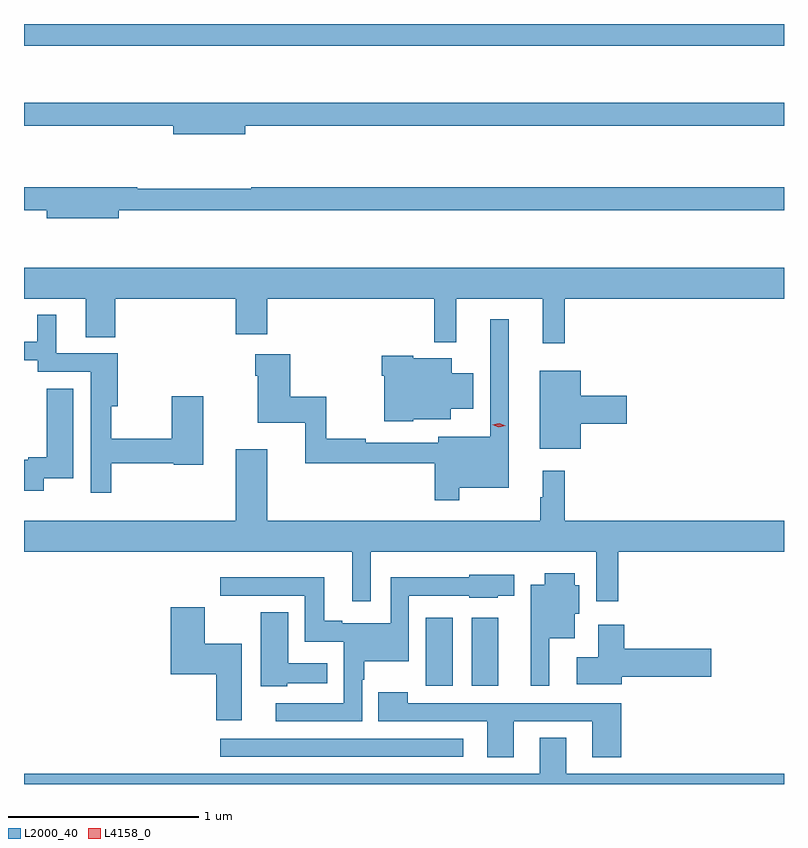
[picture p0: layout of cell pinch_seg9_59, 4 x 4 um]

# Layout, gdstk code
import gdstk
lib = gdstk.Library(unit=1e-6, precision=1e-09)
def R(c, l, rs):  # rectangles x0, y0, x1, y1
    for r in rs: c.add(gdstk.rectangle(r[:2], r[2:], *l))
def P(c, l, *ps):  # polygons
    for p in ps: c.add(gdstk.Polygon(p, *l))
L2000_40 = (2000, 40)
L4158_0 = (4158, 0)

pinch_seg9_59 = lib.new_cell('pinch_seg9_59')
R(pinch_seg9_59, L2000_40, [(908.181,1190.013,909.46,1190.109), (909.263,1190.388,909.406,1190.746), (909.506,1190.388,909.646,1190.746), (907.149,1193.756,911.149,1193.87)])
P(pinch_seg9_59, L2000_40, [(908.314,1193.334),(911.149,1193.334),(911.149,1193.455),(907.149,1193.455),(907.149,1193.334),(907.934,1193.334),(907.934,1193.291),(908.314,1193.291)],
  [(907.648,1192.89),(911.149,1192.89),(911.149,1193.011),(908.344,1193.011),(908.344,1193.003),(907.744,1193.003),(907.744,1193.011),(907.149,1193.011),(907.149,1192.89),(907.268,1192.89),(907.268,1192.847),(907.648,1192.847)],
  [(909.995,1192.424),(911.149,1192.424),(911.149,1192.588),(907.149,1192.588),(907.149,1192.424),(907.475,1192.424),(907.475,1192.222),(907.628,1192.222),(907.628,1192.424),(908.264,1192.424),(908.264,1192.236),(908.428,1192.236),(908.428,1192.424),(909.307,1192.424),(909.307,1192.196),(909.425,1192.196),(909.425,1192.424),(909.878,1192.424),(909.878,1192.191),(909.995,1192.191)],
  [(907.609,1191.558),(907.938,1191.558),(907.938,1191.55),(908.092,1191.55),(908.092,1191.91),(907.927,1191.91),(907.927,1191.686),(907.609,1191.686),(907.609,1191.857),(907.643,1191.857),(907.643,1192.137),(907.318,1192.137),(907.318,1192.339),(907.22,1192.339),(907.22,1192.197),(907.149,1192.197),(907.149,1192.101),(907.221,1192.101),(907.221,1192.041),(907.5,1192.041),(907.5,1191.402),(907.609,1191.402)],
  [(909.439,1191.428),(909.7,1191.428),(909.7,1192.315),(909.603,1192.315),(909.603,1191.697),(909.329,1191.697),(909.329,1191.666),(908.948,1191.666),(908.948,1191.686),(908.74,1191.686),(908.74,1191.908),(908.549,1191.908),(908.549,1192.132),(908.366,1192.132),(908.366,1192.019),(908.378,1192.019),(908.378,1191.772),(908.63,1191.772),(908.63,1191.558),(909.31,1191.558),(909.31,1191.363),(909.439,1191.363)],
  [(909.198,1191.791),(909.394,1191.791),(909.394,1191.845),(909.514,1191.845),(909.514,1192.033),(909.4,1192.033),(909.4,1192.111),(909.198,1192.111),(909.198,1192.123),(909.032,1192.123),(909.032,1192.019),(909.044,1192.019),(909.044,1191.779),(909.198,1191.779)],
  [(910.078,1191.767),(910.321,1191.767),(910.321,1191.914),(910.078,1191.914),(910.078,1192.045),(909.863,1192.045),(909.863,1191.635),(910.078,1191.635)],
  [(907.252,1191.478),(907.408,1191.478),(907.408,1191.949),(907.268,1191.949),(907.268,1191.589),(907.172,1191.589),(907.172,1191.576),(907.149,1191.576),(907.149,1191.413),(907.252,1191.413)],
  [(908.973,1191.092),(910.161,1191.092),(910.161,1190.832),(910.277,1190.832),(910.277,1191.092),(911.149,1191.092),(911.149,1191.256),(909.995,1191.256),(909.995,1191.52),(909.878,1191.52),(909.878,1191.38),(909.867,1191.38),(909.867,1191.256),(908.428,1191.256),(908.428,1191.631),(908.264,1191.631),(908.264,1191.256),(907.149,1191.256),(907.149,1191.092),(908.876,1191.092),(908.876,1190.832),(908.973,1190.832)],
  [(909.913,1190.636),(910.048,1190.636),(910.048,1190.766),(910.072,1190.766),(910.072,1190.916),(910.048,1190.916),(910.048,1190.98),(909.89,1190.98),(909.89,1190.92),(909.815,1190.92),(909.815,1190.388),(909.913,1190.388)],
  [(908.928,1190.42),(908.941,1190.42),(908.941,1190.516),(909.174,1190.516),(909.174,1190.862),(909.492,1190.862),(909.492,1190.849),(909.642,1190.849),(909.642,1190.862),(909.73,1190.862),(909.73,1190.971),(909.492,1190.971),(909.492,1190.959),(909.078,1190.959),(909.078,1190.715),(908.824,1190.715),(908.824,1190.728),(908.728,1190.728),(908.728,1190.959),(908.181,1190.959),(908.181,1190.862),(908.627,1190.862),(908.627,1190.619),(908.832,1190.619),(908.832,1190.295),(908.475,1190.295),(908.475,1190.199),(908.928,1190.199)],
  [(908.296,1190.608),(908.1,1190.608),(908.1,1190.8),(907.922,1190.8),(907.922,1190.447),(908.162,1190.447),(908.162,1190.205),(908.296,1190.205)],
  [(908.535,1190.399),(908.746,1190.399),(908.746,1190.506),(908.539,1190.506),(908.539,1190.773),(908.396,1190.773),(908.396,1190.384),(908.535,1190.384)],
  [(910.294,1190.435),(910.765,1190.435),(910.765,1190.582),(910.307,1190.582),(910.307,1190.707),(910.172,1190.707),(910.172,1190.536),(910.059,1190.536),(910.059,1190.396),(910.294,1190.396)],
  [(909.727,1190.199),(910.139,1190.199),(910.139,1190.01),(910.292,1190.01),(910.292,1190.295),(909.17,1190.295),(909.17,1190.353),(909.013,1190.353),(909.013,1190.199),(909.587,1190.199),(909.587,1190.01),(909.727,1190.01)],
  [(911.149,1189.924),(910.003,1189.924),(910.003,1190.114),(909.863,1190.114),(909.863,1189.924),(907.149,1189.924),(907.149,1189.87),(911.149,1189.87)])
P(pinch_seg9_59, L4158_0, [(909.648,1191.748),(909.613,1191.76),(909.613,1191.76),(909.613,1191.76),(909.649,1191.768),(909.684,1191.756),(909.684,1191.756),(909.684,1191.756)])

lib.write_gds('pinch_seg9_59.gds')
